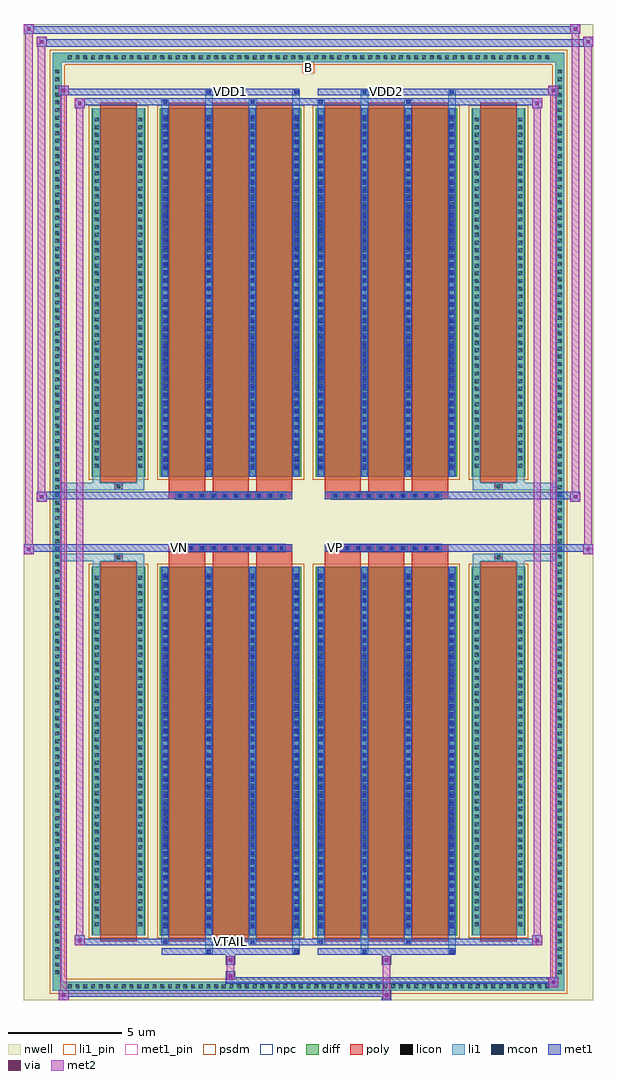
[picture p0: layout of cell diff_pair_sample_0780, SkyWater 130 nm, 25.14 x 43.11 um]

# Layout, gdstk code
import gdstk
lib = gdstk.Library(unit=1e-6, precision=5e-09)
def R(c, l, rs):  # rectangles x0, y0, x1, y1
    for r in rs: c.add(gdstk.rectangle(r[:2], r[2:], *l))
def A(c, l, x, y, w, h, nx, ny, dx, dy):  # array of equal rectangles
    R(c, l, [(x+i*dx, y+j*dy, x+i*dx+w, y+j*dy+h) for i in range(nx) for j in range(ny)])
def P(c, l, *ps):  # polygons
    for p in ps: c.add(gdstk.Polygon(p, *l))
nwell = (64, 20)
diff = (65, 20)
poly = (66, 20)
licon = (66, 44)
li1_pin = (67, 16)
li1 = (67, 20)
mcon = (67, 44)
met1_pin = (68, 16)
met1 = (68, 20)
via = (68, 44)
met2 = (69, 20)
psdm = (94, 20)
npc = (95, 20)

diff_pair_sample_0780 = lib.new_cell('diff_pair_sample_0780')
R(diff_pair_sample_0780, nwell, [(-12.57,-21.12,12.57,21.99), (-9.89,-19.31,-0.01,-0.795), (0.01,-19.31,9.89,-0.795), (-9.89,0.795,-0.01,19.31), (0.01,0.795,9.89,19.31)])
A(diff_pair_sample_0780, diff, -10.745, -20.72, 0.41, 0.41, 63, 2, 0.34, 41.03)
A(diff_pair_sample_0780, diff, -11.3, -20.095, 0.41, 0.41, 1, 118, 0, 0.34)
A(diff_pair_sample_0780, diff, 10.89, -20.095, 0.41, 0.41, 1, 118, 0, 0.34)
R(diff_pair_sample_0780, diff, [(-10.745,-20.72,10.745,-20.31), (-11.3,-20.095,-10.89,20.095), (10.89,-20.095,11.3,20.095), (-9.58,-18.265,-7.2,-1.985), (-6.56,-18.265,-0.32,-1.985), (0.32,-18.265,6.56,-1.985), (7.2,-18.265,9.58,-1.985), (-9.58,1.985,-7.2,18.265), (-6.56,1.985,-0.32,18.265), (0.32,1.985,6.56,18.265), (7.2,1.985,9.58,18.265), (-10.745,20.31,10.745,20.72)])
P(diff_pair_sample_0780, diff, [(11.3,20.72),(-11.3,20.72),(-11.3,-20.31),(-10.89,-20.31),(-10.89,20.31),(10.89,20.31),(10.89,-20.31),(-10.89,-20.31),(-11.3,-20.31),(-11.3,-20.72),(11.3,-20.72)])
A(diff_pair_sample_0780, poly, -6.17, -18.515, 1.6, 16.78, 3, 2, 1.93, 20.25)
A(diff_pair_sample_0780, poly, 0.71, -18.515, 1.6, 16.78, 3, 2, 1.93, 20.25)
A(diff_pair_sample_0780, poly, -6.17, -1.735, 1.6, 0.41, 3, 2, 1.93, 3.06)
A(diff_pair_sample_0780, poly, 0.71, -1.735, 1.6, 0.41, 3, 2, 1.93, 3.06)
A(diff_pair_sample_0780, poly, -5.855, -1.325, 0.33, 0.33, 10, 2, 0.5, 2.32)
A(diff_pair_sample_0780, poly, 1.025, -1.325, 0.33, 0.33, 10, 2, 0.5, 2.32)
R(diff_pair_sample_0780, poly, [(-9.19,-18.515,-7.59,-1.735), (7.59,-18.515,9.19,-1.735), (-8.555,-1.735,-8.225,-1.405), (-8.555,-1.735,-8.225,-1.405), (8.225,-1.735,8.555,-1.405), (8.225,-1.735,8.555,-1.405), (-6.17,-1.325,-0.71,-0.995), (0.71,-1.325,6.17,-0.995), (-6.17,0.995,-0.71,1.325), (0.71,0.995,6.17,1.325), (-8.555,1.405,-8.225,1.735), (-8.555,1.405,-8.225,1.735), (8.225,1.405,8.555,1.735), (8.225,1.405,8.555,1.735), (-9.19,1.735,-7.59,18.515), (7.59,1.735,9.19,18.515)])
A(diff_pair_sample_0780, licon, -10.625, -20.6, 0.17, 0.17, 63, 2, 0.34, 41.03)
A(diff_pair_sample_0780, licon, -11.18, -19.975, 0.17, 0.17, 1, 118, 0, 0.34)
A(diff_pair_sample_0780, licon, 11.01, -19.975, 0.17, 0.17, 1, 118, 0, 0.34)
A(diff_pair_sample_0780, licon, -9.44, -17.86, 0.17, 0.17, 1, 46, 0, 0.34)
A(diff_pair_sample_0780, licon, -7.51, -17.86, 0.17, 0.17, 1, 46, 0, 0.34)
A(diff_pair_sample_0780, licon, -6.42, -17.86, 0.17, 0.17, 4, 46, 1.93, 0.34)
A(diff_pair_sample_0780, licon, 0.46, -17.86, 0.17, 0.17, 4, 46, 1.93, 0.34)
A(diff_pair_sample_0780, licon, 7.34, -17.86, 0.17, 0.17, 1, 46, 0, 0.34)
A(diff_pair_sample_0780, licon, 9.27, -17.86, 0.17, 0.17, 1, 46, 0, 0.34)
A(diff_pair_sample_0780, licon, -5.775, -1.245, 0.17, 0.17, 10, 2, 0.5, 2.32)
A(diff_pair_sample_0780, licon, 1.105, -1.245, 0.17, 0.17, 10, 2, 0.5, 2.32)
A(diff_pair_sample_0780, licon, -9.44, 2.39, 0.17, 0.17, 1, 46, 0, 0.34)
A(diff_pair_sample_0780, licon, -7.51, 2.39, 0.17, 0.17, 1, 46, 0, 0.34)
A(diff_pair_sample_0780, licon, -6.42, 2.39, 0.17, 0.17, 4, 46, 1.93, 0.34)
A(diff_pair_sample_0780, licon, 0.46, 2.39, 0.17, 0.17, 4, 46, 1.93, 0.34)
A(diff_pair_sample_0780, licon, 7.34, 2.39, 0.17, 0.17, 1, 46, 0, 0.34)
A(diff_pair_sample_0780, licon, 9.27, 2.39, 0.17, 0.17, 1, 46, 0, 0.34)
R(diff_pair_sample_0780, licon, [(-8.475,-1.655,-8.305,-1.485), (8.305,-1.655,8.475,-1.485), (-8.475,1.485,-8.305,1.655), (8.305,1.485,8.475,1.655)])
R(diff_pair_sample_0780, li1_pin, [(-0.25,19.81,0.25,20.31)])
A(diff_pair_sample_0780, li1, -10.705, -20.68, 0.33, 0.33, 63, 2, 0.34, 41.03)
A(diff_pair_sample_0780, li1, -11.26, -20.055, 0.33, 0.33, 1, 118, 0, 0.34)
A(diff_pair_sample_0780, li1, 10.93, -20.055, 0.33, 0.33, 1, 118, 0, 0.34)
A(diff_pair_sample_0780, li1, -6.5, -18.265, 0.33, 16.28, 4, 2, 1.93, 20.25)
A(diff_pair_sample_0780, li1, 0.38, -18.265, 0.33, 16.28, 4, 2, 1.93, 20.25)
A(diff_pair_sample_0780, li1, -6.42, -17.95, 0.17, 0.17, 4, 44, 1.93, 0.36)
A(diff_pair_sample_0780, li1, -6.42, -17.95, 0.17, 15.65, 4, 2, 1.93, 20.25)
A(diff_pair_sample_0780, li1, 0.46, -17.95, 0.17, 0.17, 4, 44, 1.93, 0.36)
A(diff_pair_sample_0780, li1, 0.46, -17.95, 0.17, 15.65, 4, 2, 1.93, 20.25)
A(diff_pair_sample_0780, li1, -9.52, -17.94, 0.33, 0.33, 1, 46, 0, 0.34)
A(diff_pair_sample_0780, li1, -7.59, -17.94, 0.33, 0.33, 1, 46, 0, 0.34)
A(diff_pair_sample_0780, li1, -6.5, -17.94, 0.33, 0.33, 4, 46, 1.93, 0.34)
A(diff_pair_sample_0780, li1, 0.38, -17.94, 0.33, 0.33, 4, 46, 1.93, 0.34)
A(diff_pair_sample_0780, li1, 7.26, -17.94, 0.33, 0.33, 1, 46, 0, 0.34)
A(diff_pair_sample_0780, li1, 9.19, -17.94, 0.33, 0.33, 1, 46, 0, 0.34)
A(diff_pair_sample_0780, li1, -5.855, -1.325, 0.33, 0.33, 10, 2, 0.5, 2.32)
A(diff_pair_sample_0780, li1, 1.025, -1.325, 0.33, 0.33, 10, 2, 0.5, 2.32)
A(diff_pair_sample_0780, li1, -6.42, 2.3, 0.17, 0.17, 4, 44, 1.93, 0.36)
A(diff_pair_sample_0780, li1, 0.46, 2.3, 0.17, 0.17, 4, 44, 1.93, 0.36)
A(diff_pair_sample_0780, li1, -9.52, 2.31, 0.33, 0.33, 1, 46, 0, 0.34)
A(diff_pair_sample_0780, li1, -7.59, 2.31, 0.33, 0.33, 1, 46, 0, 0.34)
A(diff_pair_sample_0780, li1, -6.5, 2.31, 0.33, 0.33, 4, 46, 1.93, 0.34)
A(diff_pair_sample_0780, li1, 0.38, 2.31, 0.33, 0.33, 4, 46, 1.93, 0.34)
A(diff_pair_sample_0780, li1, 7.26, 2.31, 0.33, 0.33, 1, 46, 0, 0.34)
A(diff_pair_sample_0780, li1, 9.19, 2.31, 0.33, 0.33, 1, 46, 0, 0.34)
R(diff_pair_sample_0780, li1, [(-11.3,-20.72,-10.89,-20.31), (-11.3,-20.72,-10.89,-20.31), (-10.89,-20.72,10.89,-20.31), (10.89,-20.72,11.3,-20.31), (10.89,-20.72,11.3,-20.31), (-11.3,-20.31,-10.89,20.31), (10.89,-20.31,11.3,20.31), (-4.57,-19.07,-4.24,-18.265), (-4.49,-19.07,-4.32,-18.9), (-0.71,-19.07,-0.38,-18.265), (-0.63,-19.07,-0.46,-18.9), (2.31,-19.07,2.64,-18.265), (2.39,-19.07,2.56,-18.9), (6.17,-19.07,6.5,-18.265), (6.25,-19.07,6.42,-18.9), (-6.5,-18.64,-6.17,-18.265), (-6.42,-18.64,-6.25,-18.47), (-2.64,-18.64,-2.31,-18.265), (-2.56,-18.64,-2.39,-18.47), (0.38,-18.64,0.71,-18.265), (0.46,-18.64,0.63,-18.47), (4.24,-18.64,4.57,-18.265), (4.32,-18.64,4.49,-18.47), (-9.52,-18.265,-9.19,-1.985), (-7.59,-18.265,-7.26,-1.985), (7.26,-18.265,7.59,-1.985), (9.19,-18.265,9.52,-1.985), (-9.52,-1.985,-9.19,-1.405), (-7.59,-1.985,-7.26,-1.405), (7.26,-1.985,7.59,-1.405), (9.19,-1.985,9.52,-1.405), (-11.3,-1.735,-8.555,-1.405), (-9.52,-1.735,-8.555,-1.405), (-8.555,-1.735,-8.225,-1.405), (-8.225,-1.735,-7.26,-1.405), (7.26,-1.735,8.225,-1.405), (8.225,-1.735,8.555,-1.405), (8.225,-1.735,11.3,-1.405), (8.555,-1.735,9.52,-1.405), (-11.3,1.405,-8.555,1.735), (-9.52,1.405,-8.555,1.735), (-9.52,1.405,-9.19,1.985), (-8.555,1.405,-8.225,1.735), (-8.225,1.405,-7.26,1.735), (-7.59,1.405,-7.26,1.985), (7.26,1.405,8.225,1.735), (7.26,1.405,7.59,1.985), (8.225,1.405,8.555,1.735), (8.225,1.405,11.3,1.735), (8.555,1.405,9.52,1.735), (9.19,1.405,9.52,1.985), (-9.52,1.985,-9.19,18.265), (-7.59,1.985,-7.26,18.265), (7.26,1.985,7.59,18.265), (9.19,1.985,9.52,18.265), (-6.5,18.265,-6.17,18.64), (-4.57,18.265,-4.24,19.07), (-2.64,18.265,-2.31,18.64), (-0.71,18.265,-0.38,19.07), (0.38,18.265,0.71,18.64), (2.31,18.265,2.64,19.07), (4.24,18.265,4.57,18.64), (6.17,18.265,6.5,19.07), (-6.42,18.47,-6.25,18.64), (-2.56,18.47,-2.39,18.64), (0.46,18.47,0.63,18.64), (4.32,18.47,4.49,18.64), (-4.49,18.9,-4.32,19.07), (-0.63,18.9,-0.46,19.07), (2.39,18.9,2.56,19.07), (6.25,18.9,6.42,19.07), (-11.3,20.31,-10.89,20.72), (-11.3,20.31,-10.89,20.72), (-10.89,20.31,10.89,20.72), (10.89,20.31,11.3,20.72), (10.89,20.31,11.3,20.72)])
A(diff_pair_sample_0780, mcon, -6.42, -17.95, 0.17, 0.17, 4, 44, 1.93, 0.36)
A(diff_pair_sample_0780, mcon, 0.46, -17.95, 0.17, 0.17, 4, 44, 1.93, 0.36)
A(diff_pair_sample_0780, mcon, -5.775, -1.245, 0.17, 0.17, 10, 2, 0.5, 2.32)
A(diff_pair_sample_0780, mcon, 1.105, -1.245, 0.17, 0.17, 10, 2, 0.5, 2.32)
A(diff_pair_sample_0780, mcon, -6.42, 2.3, 0.17, 0.17, 4, 44, 1.93, 0.36)
A(diff_pair_sample_0780, mcon, 0.46, 2.3, 0.17, 0.17, 4, 44, 1.93, 0.36)
R(diff_pair_sample_0780, mcon, [(-4.49,-19.07,-4.32,-18.9), (-0.63,-19.07,-0.46,-18.9), (2.39,-19.07,2.56,-18.9), (6.25,-19.07,6.42,-18.9), (-6.42,-18.64,-6.25,-18.47), (-2.56,-18.64,-2.39,-18.47), (0.46,-18.64,0.63,-18.47), (4.32,-18.64,4.49,-18.47), (-6.42,18.47,-6.25,18.64), (-2.56,18.47,-2.39,18.64), (0.46,18.47,0.63,18.64), (4.32,18.47,4.49,18.64), (-4.49,18.9,-4.32,19.07), (-0.63,18.9,-0.46,19.07), (2.39,18.9,2.56,19.07), (6.25,18.9,6.42,19.07)])
R(diff_pair_sample_0780, met1_pin, [(-3.575,-18.68,-3.305,-18.41), (-5.825,-1.285,-5.555,-1.015), (1.055,-1.285,1.325,-1.015), (-3.575,18.86,-3.305,19.13), (3.305,18.86,3.575,19.13)])
A(diff_pair_sample_0780, met1, -6.48, -18.265, 0.29, 16.28, 4, 2, 1.93, 20.25)
A(diff_pair_sample_0780, met1, 0.4, -18.265, 0.29, 16.28, 4, 2, 1.93, 20.25)
A(diff_pair_sample_0780, met1, -6.48, -18.01, 0.29, 0.29, 4, 44, 1.93, 0.36)
A(diff_pair_sample_0780, met1, 0.4, -18.01, 0.29, 0.29, 4, 44, 1.93, 0.36)
A(diff_pair_sample_0780, met1, -5.835, -1.305, 0.29, 0.29, 10, 2, 0.5, 2.32)
A(diff_pair_sample_0780, met1, 1.045, -1.305, 0.29, 0.29, 10, 2, 0.5, 2.32)
A(diff_pair_sample_0780, met1, -6.48, 2.24, 0.29, 0.29, 4, 44, 1.93, 0.36)
A(diff_pair_sample_0780, met1, 0.4, 2.24, 0.29, 0.29, 4, 44, 1.93, 0.36)
R(diff_pair_sample_0780, met1, [(-11.03,-21.12,-10.6,-20.69), (3.225,-21.12,3.655,-20.69), (-11.03,-20.98,3.655,-20.69), (10.6,-20.55,11.03,-20.12), (-3.655,-20.41,11.03,-20.12), (-3.655,-20.27,-3.225,-19.84), (-3.655,-19.56,-3.225,-19.13), (3.225,-19.56,3.655,-19.13), (-6.48,-19.13,-0.4,-18.84), (-4.55,-19.13,-4.26,-18.84), (-0.69,-19.13,-0.4,-18.84), (0.4,-19.13,6.48,-18.84), (2.33,-19.13,2.62,-18.84), (6.19,-19.13,6.48,-18.84), (-10.32,-18.7,-9.89,-18.27), (-10.32,-18.7,-6.48,-18.41), (-6.48,-18.7,-6.19,-18.41), (-6.48,-18.7,-0.4,-18.41), (-2.62,-18.7,-2.33,-18.41), (-0.4,-18.7,0.4,-18.41), (0.4,-18.7,0.69,-18.41), (0.4,-18.7,6.48,-18.41), (4.26,-18.7,4.55,-18.41), (6.48,-18.7,10.32,-18.41), (9.89,-18.7,10.32,-18.27), (-12.57,-1.425,-12.14,-0.995), (12.14,-1.425,12.57,-0.995), (-12.57,-1.325,-0.71,-0.995), (-6.17,-1.325,-0.71,-0.995), (0.71,-1.325,6.17,-0.995), (0.71,-1.325,12.57,-0.995), (-12,0.895,-11.57,1.325), (11.57,0.895,12,1.325), (-12,0.995,-6.17,1.325), (-6.17,0.995,-0.71,1.325), (0.71,0.995,6.17,1.325), (6.17,0.995,12,1.325), (-10.32,18.27,-9.89,18.7), (9.89,18.27,10.32,18.7), (-10.32,18.41,-6.48,18.7), (-6.48,18.41,-6.19,18.7), (-6.48,18.41,-0.4,18.7), (-2.62,18.41,-2.33,18.7), (-0.4,18.41,0.4,18.7), (0.4,18.41,0.69,18.7), (0.4,18.41,6.48,18.7), (4.26,18.41,4.55,18.7), (6.48,18.41,10.32,18.7), (-11.03,18.84,-10.6,19.27), (-11.03,18.84,-6.48,19.13), (-6.48,18.84,-0.4,19.13), (-4.55,18.84,-4.26,19.13), (-0.69,18.84,-0.4,19.13), (0.4,18.84,6.48,19.13), (2.33,18.84,2.62,19.13), (6.19,18.84,6.48,19.13), (6.48,18.84,11.03,19.13), (10.6,18.84,11.03,19.27), (-12,20.99,-11.57,21.42), (-12,20.99,-9.89,21.32), (-9.89,20.99,9.89,21.32), (9.89,20.99,12.57,21.32), (12.14,20.99,12.57,21.42), (-12.57,21.56,-12.14,21.99), (-12.57,21.56,-9.89,21.89), (-9.89,21.56,9.89,21.89), (9.89,21.56,12,21.89), (11.57,21.56,12,21.99)])
R(diff_pair_sample_0780, via, [(-10.89,-20.98,-10.74,-20.83), (3.365,-20.98,3.515,-20.83), (10.74,-20.41,10.89,-20.26), (-3.515,-20.13,-3.365,-19.98), (-3.515,-19.42,-3.365,-19.27), (3.365,-19.42,3.515,-19.27), (-10.18,-18.56,-10.03,-18.41), (10.03,-18.56,10.18,-18.41), (-12.43,-1.285,-12.28,-1.135), (12.28,-1.285,12.43,-1.135), (-11.86,1.035,-11.71,1.185), (11.71,1.035,11.86,1.185), (-10.18,18.41,-10.03,18.56), (10.03,18.41,10.18,18.56), (-10.89,18.98,-10.74,19.13), (10.74,18.98,10.89,19.13), (-11.86,21.13,-11.71,21.28), (12.28,21.13,12.43,21.28), (-12.43,21.7,-12.28,21.85), (11.71,21.7,11.86,21.85)])
R(diff_pair_sample_0780, met2, [(-11.03,-21.12,-10.6,-20.69), (-10.96,-21.12,-10.67,19.27), (-10.67,-21.12,-10.6,-20.69), (-10.98,-21.07,-10.65,-20.74), (3.275,-21.07,3.605,-20.74), (3.275,-20.74,3.605,-19.51), (10.6,-20.55,11.03,-20.12), (10.67,-20.55,10.96,19.27), (10.96,-20.55,11.03,-20.12), (10.65,-20.5,10.98,-20.17), (-3.605,-20.22,-3.275,-19.89), (-3.605,-19.89,-3.275,-19.51), (-3.605,-19.51,-3.275,-19.18), (3.275,-19.51,3.605,-19.18), (-10.32,-18.7,-9.89,-18.27), (-10.25,-18.7,-9.96,18.7), (-9.96,-18.7,-9.89,-18.27), (9.89,-18.7,10.32,-18.27), (9.96,-18.7,10.25,18.7), (10.25,-18.7,10.32,-18.27), (-10.27,-18.65,-9.94,-18.32), (9.94,-18.65,10.27,-18.32), (-12.57,-1.425,-12.14,-0.995), (-12.52,-1.425,-12.19,21.99), (-12.19,-1.425,-12.14,-0.995), (12.14,-1.425,12.57,-0.995), (12.19,-1.425,12.52,21.42), (12.52,-1.425,12.57,-0.995), (-12.52,-1.375,-12.19,-1.045), (12.19,-1.375,12.52,-1.045), (-12,0.895,-11.57,1.325), (-11.95,0.895,-11.62,21.42), (-11.62,0.895,-11.57,1.325), (11.57,0.895,12,1.325), (11.62,0.895,11.95,21.99), (11.95,0.895,12,1.325), (-11.95,0.945,-11.62,1.275), (11.62,0.945,11.95,1.275), (-10.32,18.27,-9.89,18.7), (-9.96,18.27,-9.89,18.7), (9.89,18.27,10.32,18.7), (10.25,18.27,10.32,18.7), (-10.27,18.32,-9.94,18.65), (9.94,18.32,10.27,18.65), (-11.03,18.84,-10.6,19.27), (-10.67,18.84,-10.6,19.27), (10.6,18.84,11.03,19.27), (10.96,18.84,11.03,19.27), (-10.98,18.89,-10.65,19.22), (10.65,18.89,10.98,19.22), (-12,20.99,-11.57,21.42), (-11.62,20.99,-11.57,21.42), (12.14,20.99,12.57,21.42), (12.52,20.99,12.57,21.42), (-11.95,21.04,-11.62,21.37), (12.19,21.04,12.52,21.37), (-12.57,21.56,-12.14,21.99), (-12.19,21.56,-12.14,21.99), (11.57,21.56,12,21.99), (11.95,21.56,12,21.99), (-12.52,21.61,-12.19,21.94), (11.62,21.61,11.95,21.94)])
R(diff_pair_sample_0780, psdm, [(-9.71,-18.395,-7.07,-1.855), (-6.69,-18.395,-0.19,-1.855), (0.19,-18.395,6.69,-1.855), (7.07,-18.395,9.71,-1.855), (-9.71,1.855,-7.07,18.395), (-6.69,1.855,-0.19,18.395), (0.19,1.855,6.69,18.395), (7.07,1.855,9.71,18.395)])
P(diff_pair_sample_0780, psdm, [(11.43,20.85),(-11.43,20.85),(-11.43,-20.18),(-10.76,-20.18),(-10.76,20.18),(10.76,20.18),(10.76,-20.18),(-10.76,-20.18),(-11.43,-20.18),(-11.43,-20.85),(11.43,-20.85)])
A(diff_pair_sample_0780, npc, -5.875, -1.345, 0.37, 0.37, 10, 2, 0.5, 2.32)
A(diff_pair_sample_0780, npc, 1.005, -1.345, 0.37, 0.37, 10, 2, 0.5, 2.32)
R(diff_pair_sample_0780, npc, [(-8.575,-1.755,-8.205,-1.385), (8.205,-1.755,8.575,-1.385), (-5.875,-1.345,-5.005,-0.975), (-5.875,-1.345,-5.005,-0.975), (-5.375,-1.345,-4.505,-0.975), (-5.375,-1.345,-4.505,-0.975), (-4.875,-1.345,-4.005,-0.975), (-4.875,-1.345,-4.005,-0.975), (-4.375,-1.345,-3.505,-0.975), (-4.375,-1.345,-3.505,-0.975), (-3.875,-1.345,-3.005,-0.975), (-3.875,-1.345,-3.005,-0.975), (-3.375,-1.345,-2.505,-0.975), (-3.375,-1.345,-2.505,-0.975), (-2.875,-1.345,-2.005,-0.975), (-2.875,-1.345,-2.005,-0.975), (-2.375,-1.345,-1.505,-0.975), (-2.375,-1.345,-1.505,-0.975), (-1.875,-1.345,-1.005,-0.975), (-1.875,-1.345,-1.005,-0.975), (1.005,-1.345,1.875,-0.975), (1.005,-1.345,1.875,-0.975), (1.505,-1.345,2.375,-0.975), (1.505,-1.345,2.375,-0.975), (2.005,-1.345,2.875,-0.975), (2.005,-1.345,2.875,-0.975), (2.505,-1.345,3.375,-0.975), (2.505,-1.345,3.375,-0.975), (3.005,-1.345,3.875,-0.975), (3.005,-1.345,3.875,-0.975), (3.505,-1.345,4.375,-0.975), (3.505,-1.345,4.375,-0.975), (4.005,-1.345,4.875,-0.975), (4.005,-1.345,4.875,-0.975), (4.505,-1.345,5.375,-0.975), (4.505,-1.345,5.375,-0.975), (5.005,-1.345,5.875,-0.975), (5.005,-1.345,5.875,-0.975), (-5.875,0.975,-5.005,1.345), (-5.875,0.975,-5.005,1.345), (-5.375,0.975,-4.505,1.345), (-5.375,0.975,-4.505,1.345), (-4.875,0.975,-4.005,1.345), (-4.875,0.975,-4.005,1.345), (-4.375,0.975,-3.505,1.345), (-4.375,0.975,-3.505,1.345), (-3.875,0.975,-3.005,1.345), (-3.875,0.975,-3.005,1.345), (-3.375,0.975,-2.505,1.345), (-3.375,0.975,-2.505,1.345), (-2.875,0.975,-2.005,1.345), (-2.875,0.975,-2.005,1.345), (-2.375,0.975,-1.505,1.345), (-2.375,0.975,-1.505,1.345), (-1.875,0.975,-1.005,1.345), (-1.875,0.975,-1.005,1.345), (1.005,0.975,1.875,1.345), (1.005,0.975,1.875,1.345), (1.505,0.975,2.375,1.345), (1.505,0.975,2.375,1.345), (2.005,0.975,2.875,1.345), (2.005,0.975,2.875,1.345), (2.505,0.975,3.375,1.345), (2.505,0.975,3.375,1.345), (3.005,0.975,3.875,1.345), (3.005,0.975,3.875,1.345), (3.505,0.975,4.375,1.345), (3.505,0.975,4.375,1.345), (4.005,0.975,4.875,1.345), (4.005,0.975,4.875,1.345), (4.505,0.975,5.375,1.345), (4.505,0.975,5.375,1.345), (5.005,0.975,5.875,1.345), (5.005,0.975,5.875,1.345), (-8.575,1.385,-8.205,1.755), (8.205,1.385,8.575,1.755)])
diff_pair_sample_0780.add(gdstk.Label('VTAIL', (-3.44,-18.545), layer=68, texttype=5))
diff_pair_sample_0780.add(gdstk.Label('VN', (-5.69,-1.15), layer=68, texttype=5))
diff_pair_sample_0780.add(gdstk.Label('VP', (1.19,-1.15), layer=68, texttype=5))
diff_pair_sample_0780.add(gdstk.Label('B', (0,20.06), layer=67, texttype=5))
diff_pair_sample_0780.add(gdstk.Label('VDD2', (3.44,18.995), layer=68, texttype=5))
diff_pair_sample_0780.add(gdstk.Label('VDD1', (-3.44,18.995), layer=68, texttype=5))

lib.write_gds('diff_pair_sample_0780.gds')
